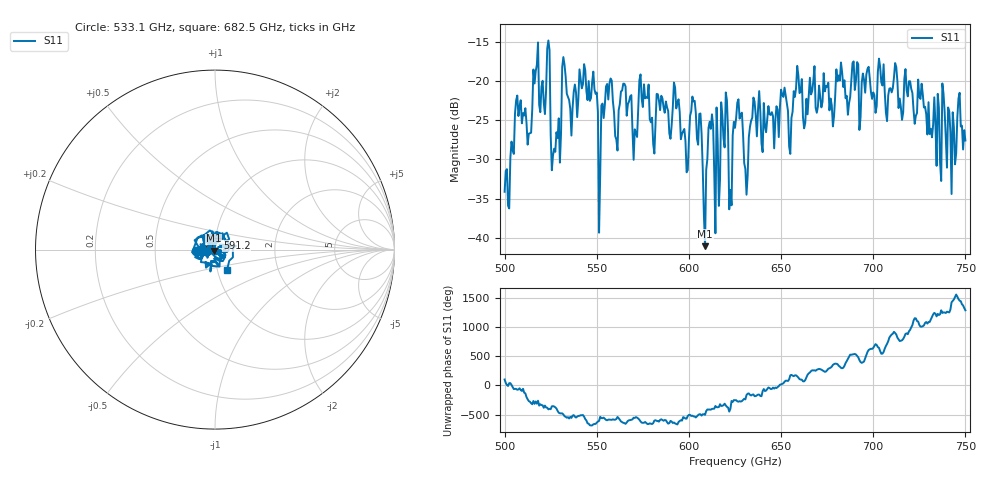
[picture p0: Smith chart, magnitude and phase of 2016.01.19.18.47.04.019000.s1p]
!Created with skrf (http://scikit-rf.org).
# GHz S RI R 50.0
!freq ReS11 ImS11
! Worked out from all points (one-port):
!   401 points, 500 GHz to 750 GHz, reference 50 ohm
!   lowest |S11| = -41.1 dB at 608.8 GHz (marker M1), VSWR 1.02, Z = 49.3 - j0.531 ohm
!   |S11| at or under -10 dB: start of sweep to end of sweep
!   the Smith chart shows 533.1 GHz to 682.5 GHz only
!   S11 on the Smith chart (normalised r, x): 533.1 GHz: 0.81, -0.01; 591.2 GHz: 1.02, +0.14; 682.5 GHz: 1.11, -0.26
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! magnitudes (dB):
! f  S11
! 500 GHz  -34.1
! 507.5 GHz  -24.5
! 513.8 GHz  -26.7
! 516.9 GHz  -18.7
! 523.8 GHz  -14.8
! 526.2 GHz  -29.5
! 531.2 GHz  -18.2
! 533.1 GHz  -19.4
! 548.8 GHz  -21.1
! 552.5 GHz  -23.1
! 556.2 GHz  -22.3
! 562.5 GHz  -22.9
! 591.2 GHz  -23.4
! 593.8 GHz  -22.8
! 598.8 GHz  -31.6
! 602.5 GHz  -22.6
! 608.8 GHz  -41.1
! 611.9 GHz  -26.1
! 619.4 GHz  -28.5
! 622.5 GHz  -33.9
! 625 GHz  -26.0
! 631.2 GHz  -34.5
! 635 GHz  -22.1
! 656.2 GHz  -23.9
! 682.5 GHz  -17.6
! 687.5 GHz  -22.0
! 718.8 GHz  -21.9
! 750 GHz  -27.6
